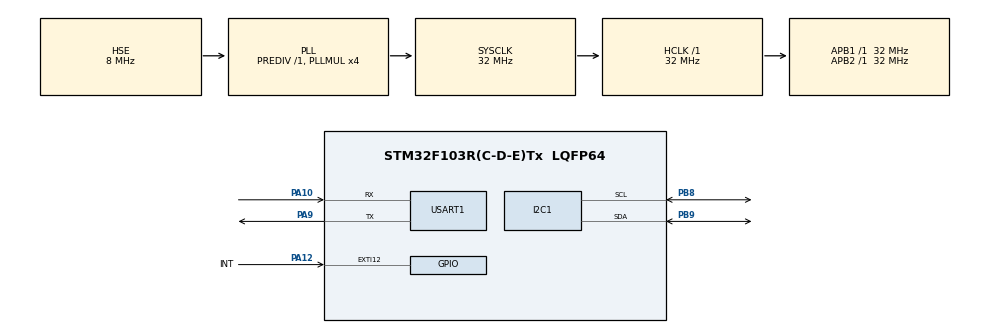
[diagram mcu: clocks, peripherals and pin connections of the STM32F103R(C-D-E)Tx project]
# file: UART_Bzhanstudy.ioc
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Mcu.Family=STM32F1
Mcu.Name=STM32F103R(C-D-E)Tx
Mcu.Package=LQFP64
NVIC.EXTI15_10_IRQn=true\:0\:0\:false\:false\:true\:true\:true\:true
NVIC.PriorityGroup=NVIC_PRIORITYGROUP_4
PA10.Mode=Asynchronous
PA10.Signal=USART1_RX
PA12.GPIO_Label=INT
PA12.GPIO_ModeDefaultEXTI=GPIO_MODE_IT_RISING_FALLING
PA12.Signal=GPXTI12
PA9.Mode=Asynchronous
PA9.Signal=USART1_TX
PB8.Mode=I2C
PB8.Signal=I2C1_SCL
PB9.Mode=I2C
PB9.Signal=I2C1_SDA
PC14-OSC32_IN.Mode=LSE-External-Oscillator
PC14-OSC32_IN.Signal=RCC_OSC32_IN
PC15-OSC32_OUT.Mode=LSE-External-Oscillator
PC15-OSC32_OUT.Signal=RCC_OSC32_OUT
PD0-OSC_IN.Mode=HSE-External-Oscillator
PD0-OSC_IN.Signal=RCC_OSC_IN
PD1-OSC_OUT.Mode=HSE-External-Oscillator
PD1-OSC_OUT.Signal=RCC_OSC_OUT
ProjectManager.HeapSize=0x200
ProjectManager.StackSize=0x400
ProjectManager.TargetToolchain=MDK-ARM V5.32
RCC.AHBFreq_Value=32000000
RCC.APB1Freq_Value=32000000
RCC.APB1TimFreq_Value=32000000
RCC.APB2Freq_Value=32000000
RCC.APB2TimFreq_Value=32000000
RCC.HCLKFreq_Value=32000000
RCC.PLLMUL=RCC_PLL_MUL4
RCC.PLLSourceVirtual=RCC_PLLSOURCE_HSE
RCC.SYSCLKFreq_VALUE=32000000
RCC.SYSCLKSource=RCC_SYSCLKSOURCE_PLLCLK
RCC.USBFreq_Value=32000000
USART1.VirtualMode=VM_ASYNC
VP_SYS_VS_ND.Mode=No_Debug
board=custom

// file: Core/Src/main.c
/* USER CODE BEGIN Header */
/**
 ******************************************************************************
 * @file           : main.c
 * @brief          : Main program body
 ******************************************************************************
 * @attention
 *
 * Copyright (c) 2023 STMicroelectronics.
 * All rights reserved.
 *
 * This software is licensed under terms that can be found in the LICENSE file
 * in the root directory of this software component.
 * If no LICENSE file comes with this software, it is provided AS-IS.
 *
 ******************************************************************************
 */
/* USER CODE END Header */
#include "main.h"
#include "i2c.h"
#include "usart.h"
#include "gpio.h"

/* USER CODE BEGIN Includes */
#include "max30102.h"
#include "stdio.h"
#include "string.h"
/* USER CODE END Includes */

void SystemClock_Config(void);

/* USER CODE BEGIN 0 */
int fputc(int ch, FILE *f)
{
  uint8_t temp[1] = {ch};
  HAL_UART_Transmit(&huart1, temp, 1, 2); // huart1������Ҫ���ݾ�������޸�
  return ch;
}
/* USER CODE END 0 */

int main(void)
{
  /* USER CODE BEGIN 1 */
  uint8_t temp[] = "test";

  /* USER CODE END 1 */

  /* MCU Configuration--------------------------------------------------------*/

  /* Reset of all peripherals, Initializes the Flash interface and the Systick. */
  HAL_Init();

  /* Configure the system clock */
  SystemClock_Config();

  /* Initialize all configured peripherals */
  MX_GPIO_Init();
  MX_USART1_UART_Init();
  MX_I2C1_Init();
  /* USER CODE BEGIN 2 */
  Max30102_Init(&hi2c1);
  /* USER CODE END 2 */

  /* Infinite loop */
  /* USER CODE BEGIN WHILE */
  while (1)
  {
    Max30102_Task();
    printf("%c[2J%c[H\n", 27, 27);
    printf("HR: %d\n\rSpO2: %d\n", Max30102_GetHeartRate(), Max30102_GetSpO2Value());

    // Max30102_Task();
    // // HAL_UART_Transmit(&huart1, temp, 5, 50);
    // printf("[\t main] info : stm32 \r\n");
    /* USER CODE END WHILE */

  }
}

void SystemClock_Config(void)
{
  RCC_OscInitTypeDef RCC_OscInitStruct = {0};
  RCC_ClkInitTypeDef RCC_ClkInitStruct = {0};

  /** Initializes the RCC Oscillators according to the specified parameters
   * in the RCC_OscInitTypeDef structure.
   */
  RCC_OscInitStruct.OscillatorType = RCC_OSCILLATORTYPE_HSE;
  RCC_OscInitStruct.HSEState = RCC_HSE_ON;
  RCC_OscInitStruct.HSEPredivValue = RCC_HSE_PREDIV_DIV1;
  RCC_OscInitStruct.HSIState = RCC_HSI_ON;
  RCC_OscInitStruct.PLL.PLLState = RCC_PLL_ON;
  RCC_OscInitStruct.PLL.PLLSource = RCC_PLLSOURCE_HSE;
  RCC_OscInitStruct.PLL.PLLMUL = RCC_PLL_MUL4;
  if (HAL_RCC_OscConfig(&RCC_OscInitStruct) != HAL_OK)
  {
    Error_Handler();
  }

  /** Initializes the CPU, AHB and APB buses clocks
   */
  RCC_ClkInitStruct.ClockType = RCC_CLOCKTYPE_HCLK | RCC_CLOCKTYPE_SYSCLK | RCC_CLOCKTYPE_PCLK1 | RCC_CLOCKTYPE_PCLK2;
  RCC_ClkInitStruct.SYSCLKSource = RCC_SYSCLKSOURCE_PLLCLK;
  RCC_ClkInitStruct.AHBCLKDivider = RCC_SYSCLK_DIV1;
  RCC_ClkInitStruct.APB1CLKDivider = RCC_HCLK_DIV1;
  RCC_ClkInitStruct.APB2CLKDivider = RCC_HCLK_DIV1;

  if (HAL_RCC_ClockConfig(&RCC_ClkInitStruct, FLASH_LATENCY_1) != HAL_OK)
  {
    Error_Handler();
  }
}

/* USER CODE BEGIN 4 */
void HAL_GPIO_EXTI_Callback(uint16_t GPIO_Pin)
{
  if (GPIO_Pin == INT_Pin)
  {
    Max30102_InterruptCallback();
  }
}
/* USER CODE END 4 */

void Error_Handler(void)
{
  __disable_irq();
  while (1)
  {
  }
}
